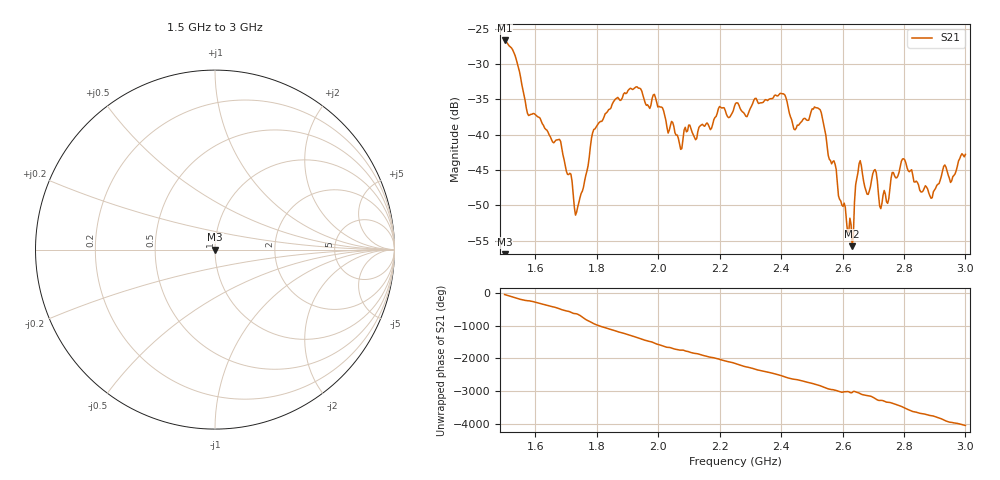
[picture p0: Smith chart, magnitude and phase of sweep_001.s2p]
# HZ S RI R 50
! BoneWave AI live acquisition
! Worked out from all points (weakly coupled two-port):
!   404 points, 1.5 GHz to 3 GHz, reference 50 ohm
!   highest |S21| = -26.65 dB at 1.5 GHz (marker M1); lowest = -55.8 dB at 2.632 GHz (marker M2)
!   lowest |S11| = - dB at 1.5 GHz (marker M3), VSWR 1.00, Z = 50 + j0 ohm
!   |S11| at or under -10 dB: start of sweep to end of sweep
!   S12 and S22 are empty: the file has one direction only
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1.5e9  0 0  0.0279 -0.0371  0 0  0 0
1.533499e9  0 0  -0.0313 -0.019  0 0  0 0
1.578164e9  0 0  -0.00611 0.0122  0 0  0 0
1.67866e9  0 0  -0.00563 -0.00736  0 0  0 0
1.730769e9  0 0  0.000297 0.00268  0 0  0 0
1.753102e9  0 0  0.00367 -0.00156  0 0  0 0
1.790323e9  0 0  -0.00792 0.00749  0 0  0 0
1.861042e9  0 0  0.00214 -0.0178  0 0  0 0
2.002481e9  0 0  -0.0128 -0.00945  0 0  0 0
2.073201e9  0 0  0.00513 0.00597  0 0  0 0
2.251861e9  0 0  0.0167 -0.000707  0 0  0 0
2.404467e9  0 0  0.018 -0.00749  0 0  0 0
2.449132e9  0 0  -0.0067 -0.00888  0 0  0 0
2.501241e9  0 0  -0.00591 0.0141  0 0  0 0
2.531017e9  0 0  0.0127 0.00662  0 0  0 0
2.594293e9  0 0  -0.00299 -0.00162  0 0  0 0
2.631514e9  0 0  -0.00158 -0.000392  0 0  0 0
2.653846e9  0 0  -0.00622 0.00016  0 0  0 0
2.75062e9  0 0  -0.000953 -0.00339  0 0  0 0
2.799007e9  0 0  -0.000731 0.00673  0 0  0 0
2.888337e9  0 0  -0.00314 -0.00165  0 0  0 0
3e9  0 0  -0.000222 -0.00726  0 0  0 0
